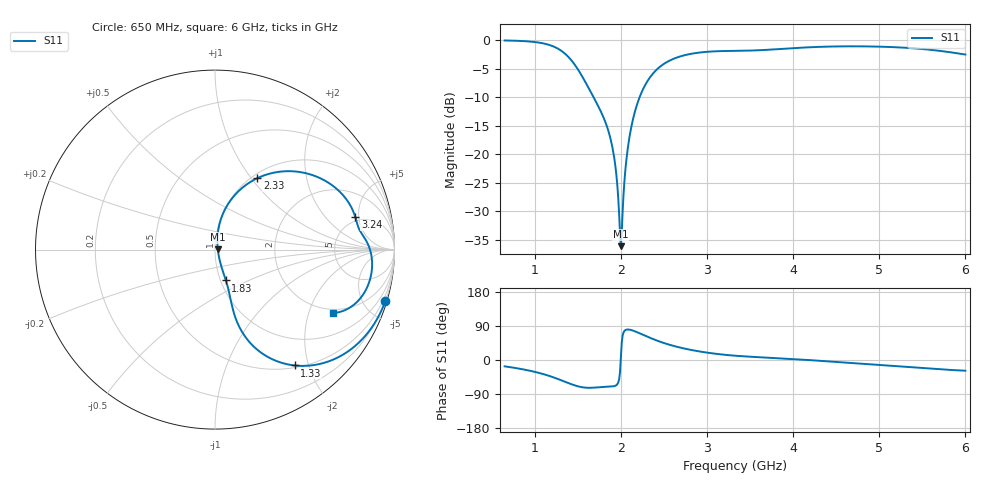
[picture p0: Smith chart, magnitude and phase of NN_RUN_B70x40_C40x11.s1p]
! IGNION VIRTUAL ANTENNA LIBRARY
! NN_RUN_B70x40_C40x11
! Virtual Antenna™ RUN mXTEND™: NN02-224 12.0 mm x 3.0 mm x 2.4 mm
! https://ignion.io/product/run-mxtend/
! Board: 70 mm x 40 mm
! Clearance Area: 40 mm x 11 mm
! Feeding line: L-shape; 11mm x 2mm and 5mm x 2mm
! Applications: Fleet management, IoT
! Frequency range 0.65GHz to 6GHz, step 10MHz
! Number of ports 1
! This product and its use is protected by at least one or more of the following patents and patent
! applications US 8,203,492 B2; US 8,237,615 B2; PCT/EP2013/064692; WO 2014/012842 A1; US 2019/190122 A1;
! US 62/072,671; and other domestic and international patents pending. Additional information about
! patents related to this product is available at https://ignion.io/files/Patent-list-NN.pdf, all
! rights reserved. Copyright, Ignion 2021.
! Need more help? Your platform is much different than these examples in the manual? Use our
! Fast Track service (https://ignion.io/fast-track/), for free, and get a personalized antenna design in
! just 24 hours.
! Touchstone port 1 = "Series Port"
! IE3D S-Parameters Output Version 2.0
# GHZ S MA R 50
! Nport = 1
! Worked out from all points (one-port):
!   536 points, 650 MHz to 6 GHz, reference 50 ohm
!   lowest |S11| = -36.1 dB at 2 GHz (marker M1), VSWR 1.03, Z = 51.6 + j0.195 ohm
!   |S11| at or under -10 dB: 1.682 GHz to 2.218 GHz (535.5 MHz wide, 27.5 % of centre)
!   S11 on the Smith chart (normalised r, x): 650 MHz: 0.20, -6.80; 1.33 GHz: 0.53, -1.78; 1.83 GHz: 1.06, -0.38; 2.33 GHz: 1.06, +1.07; 3.24 GHz: 4.45, +4.51; 6 GHz: 1.83, -2.92
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0.65  0.9917 -16.7
1.04  0.9518 -33.5
1.18  0.9001 -42.9
1.32  0.7936 -54.6
1.33  0.7831 -55.5
1.43  0.658 -64.3
1.55  0.4815 -71.8
1.83  0.1824 -70.6
1.89  0.1266 -70.1
1.93  0.08525 -68.5
1.95  0.06318 -66.0
1.99  0.0201 -32.0
2  0.01566 6.9
2.02  0.03099 64.0
2.04  0.05643 76.4
2.06  0.08401 79.8
2.12  0.1717 79.1
2.21  0.3052 71.3
2.33  0.4622 59.4
2.47  0.5966 47.1
2.66  0.7071 34.3
2.92  0.7783 22.3
3.24  0.8026 13.0
3.33  0.8043 11.2
4  0.8491 2.6
4.67  0.8813 -7.8
5.34  0.8526 -18.8
6  0.7466 -28.2
